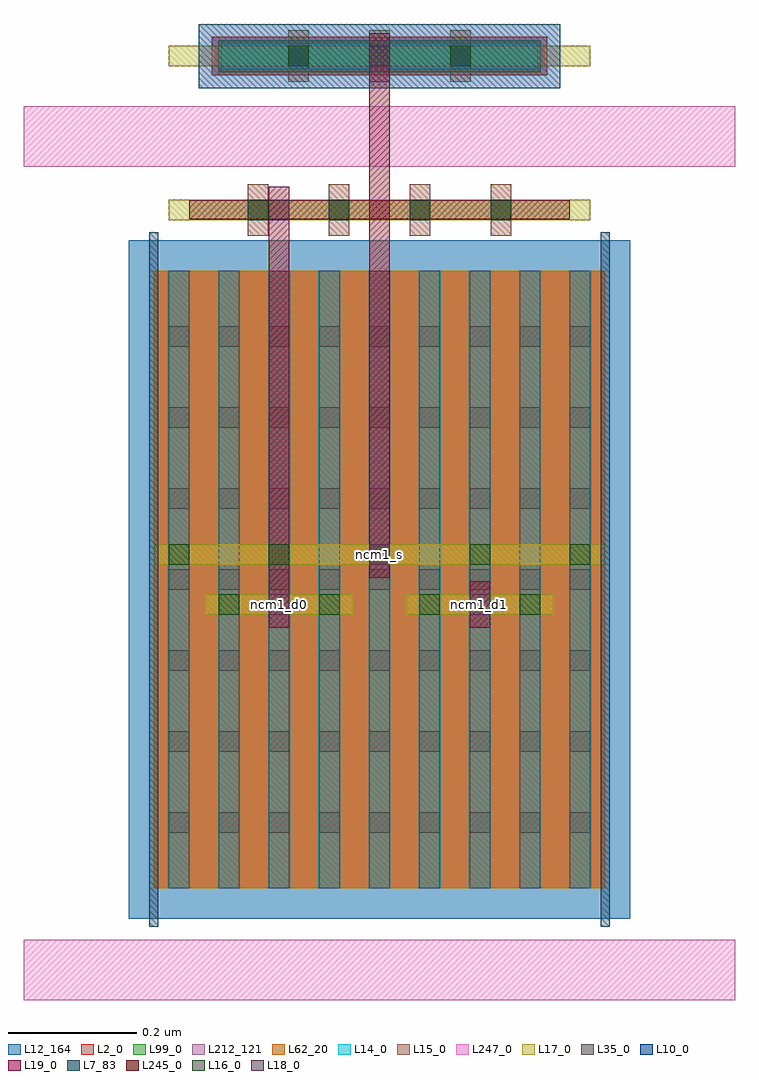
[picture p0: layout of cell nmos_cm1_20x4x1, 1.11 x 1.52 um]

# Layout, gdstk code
import gdstk
lib = gdstk.Library(unit=1e-6, precision=1e-12)
def R(c, l, rs):  # rectangles x0, y0, x1, y1
    for r in rs: c.add(gdstk.rectangle(r[:2], r[2:], *l))
def A(c, l, x, y, w, h, nx, ny, dx, dy):  # array of equal rectangles
    R(c, l, [(x+i*dx, y+j*dy, x+i*dx+w, y+j*dy+h) for i in range(nx) for j in range(ny)])
L2_0 = (2, 0)
L7_83 = (7, 83)
L10_0 = (10, 0)
L12_164 = (12, 164)
L14_0 = (14, 0)
L15_0 = (15, 0)
L16_0 = (16, 0)
L17_0 = (17, 0)
L18_0 = (18, 0)
L19_0 = (19, 0)
L35_0 = (35, 0)
L62_20 = (62, 20)
L99_0 = (99, 0)
L212_121 = (212, 121)
L245_0 = (245, 0)
L247_0 = (247, 0)

nmos_cm1_20x4x1 = lib.new_cell('nmos_cm1_20x4x1')
R(nmos_cm1_20x4x1, L2_0, [(0,0,0.702,0.96), (0.0902,1.264,0.6118,1.324)])
R(nmos_cm1_20x4x1, L7_83, [(-0.007,-0.06,0.007,1.02), (0.695,-0.06,0.709,1.02)])
R(nmos_cm1_20x4x1, L10_0, [(0.0702,1.244,0.6318,1.344)])
R(nmos_cm1_20x4x1, L12_164, [(-0.039,-0.048,0.741,1.008)])
A(nmos_cm1_20x4x1, L14_0, 0.022, 0, 0.034, 0.96, 9, 1, 0.078, 0)
R(nmos_cm1_20x4x1, L14_0, [(0.1052,1.274,0.5968,1.314)])
A(nmos_cm1_20x4x1, L15_0, 0.023, 0, 0.032, 0.96, 9, 1, 0.078, 0)
A(nmos_cm1_20x4x1, L15_0, 0.146, 1.015, 0.032, 0.08, 4, 1, 0.126, 0)
A(nmos_cm1_20x4x1, L15_0, 0.209, 1.254, 0.032, 0.08, 3, 1, 0.126, 0)
A(nmos_cm1_20x4x1, L16_0, 0.101, 0.425, 0.032, 0.032, 4, 1, 0.156, 0)
A(nmos_cm1_20x4x1, L16_0, 0.023, 0.503, 0.032, 0.032, 5, 1, 0.156, 0)
A(nmos_cm1_20x4x1, L16_0, 0.146, 1.039, 0.032, 0.032, 4, 1, 0.126, 0)
A(nmos_cm1_20x4x1, L16_0, 0.209, 1.278, 0.032, 0.032, 3, 1, 0.126, 0)
R(nmos_cm1_20x4x1, L17_0, [(0.081,0.425,0.309,0.457), (0.393,0.425,0.621,0.457), (0,0.503,0.702,0.535), (0.023,1.039,0.679,1.071), (0.023,1.278,0.679,1.31)])
R(nmos_cm1_20x4x1, L18_0, [(0.179,0.425,0.211,0.457), (0.491,0.425,0.523,0.457), (0.335,0.503,0.367,0.535), (0.179,1.039,0.211,1.071), (0.335,1.278,0.367,1.31)])
R(nmos_cm1_20x4x1, L19_0, [(0.179,0.405,0.211,1.091), (0.491,0.405,0.523,0.477), (0.335,0.483,0.367,1.33)])
A(nmos_cm1_20x4x1, L35_0, 0.023, 0.086, 0.032, 0.032, 9, 7, 0.078, 0.126)
A(nmos_cm1_20x4x1, L35_0, 0.146, 1.039, 0.032, 0.032, 4, 1, 0.126, 0)
A(nmos_cm1_20x4x1, L35_0, 0.209, 1.278, 0.032, 0.032, 3, 1, 0.126, 0)
R(nmos_cm1_20x4x1, L62_20, [(0,0,0.702,0.96)])
R(nmos_cm1_20x4x1, L99_0, [(0,0,0.702,0.96), (0.1002,1.269,0.6018,1.319)])
R(nmos_cm1_20x4x1, L212_121, [(0,0,0.702,0.96)])
R(nmos_cm1_20x4x1, L245_0, [(0.055,1.04,0.647,1.07)])
R(nmos_cm1_20x4x1, L247_0, [(-0.202,-0.174,0.904,-0.08), (-0.202,1.122,0.904,1.216)])
nmos_cm1_20x4x1.add(gdstk.Label('ncm1_s', (0.351,0.519), layer=16, texttype=20))
nmos_cm1_20x4x1.add(gdstk.Label('ncm1_d1', (0.507,0.441), layer=16, texttype=20))
nmos_cm1_20x4x1.add(gdstk.Label('ncm1_d0', (0.195,0.441), layer=16, texttype=20))

lib.write_gds('nmos_cm1_20x4x1.gds')
